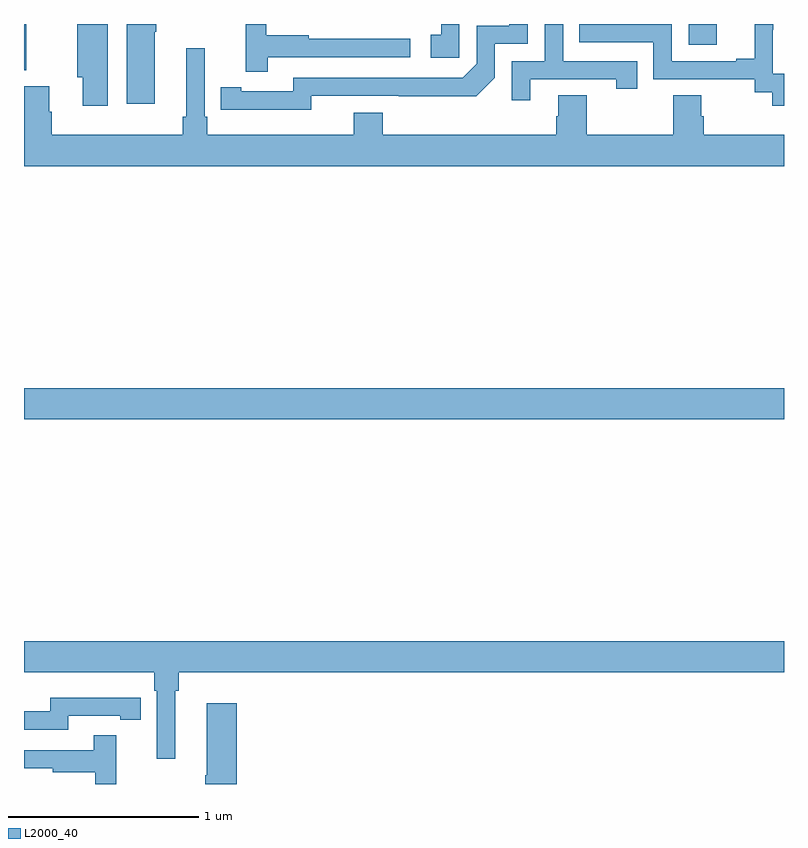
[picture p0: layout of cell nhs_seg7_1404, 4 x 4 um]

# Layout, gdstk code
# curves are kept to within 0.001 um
import gdstk
lib = gdstk.Library(unit=1e-6, precision=1e-09)
def R(c, l, rs):  # rectangles x0, y0, x1, y1
    for r in rs: c.add(gdstk.rectangle(r[:2], r[2:], *l))
def P(c, l, *ps):  # polygons
    for p in ps: c.add(gdstk.Polygon(p, *l))
L2000_40 = (2000, 40)

nhs_seg7_1404 = lib.new_cell('nhs_seg7_1404')
R(nhs_seg7_1404, L2000_40, [(207,1029.92,211,1030.084), (207,1031.757,207.011,1032), (210.498,1031.892,210.646,1032)])
P(nhs_seg7_1404, L2000_40, [(207.688,1031.959),(207.696,1031.959),(207.696,1032),(207.542,1032),(207.542,1031.58),(207.688,1031.58)],
  [(207.442,1032),(207.281,1032),(207.281,1031.721),(207.308,1031.721),(207.308,1031.571),(207.442,1031.571)],
  [(211,1031.739),(210.942,1031.739),(210.942,1031.969),(210.944,1031.969),(210.944,1032),(210.845,1032),(210.845,1031.818),(210.749,1031.818),(210.749,1031.805),(210.408,1031.805),(210.408,1032),(209.923,1032),(209.923,1031.904),(210.312,1031.904),(210.312,1031.709),(210.846,1031.709),(210.846,1031.641),(210.939,1031.641),(210.939,1031.571),(211,1031.571)],
  [(208.512,1031.622),(209.38,1031.621),(209.478,1031.718),(209.478,1031.895),(209.652,1031.895),(209.652,1032),(209.555,1032),(209.555,1031.991),(209.382,1031.991),(209.382,1031.79),(209.31,1031.718),(208.416,1031.718),(208.416,1031.646),(208.144,1031.646),(208.144,1031.666),(208.036,1031.666),(208.036,1031.55),(208.512,1031.549)],
  [(208.283,1031.826),(209.032,1031.826),(209.032,1031.922),(208.499,1031.922),(208.499,1031.942),(208.276,1031.942),(208.276,1032),(208.166,1032),(208.166,1031.748),(208.283,1031.748)],
  [(209.292,1032),(209.195,1032),(209.195,1031.943),(209.142,1031.943),(209.142,1031.823),(209.292,1031.823)],
  [(209.665,1031.709),(210.116,1031.709),(210.116,1031.658),(210.227,1031.658),(210.227,1031.805),(209.838,1031.805),(209.838,1032),(209.742,1032),(209.742,1031.805),(209.568,1031.805),(209.568,1031.598),(209.665,1031.598)],
  [(211,1031.416),(210.578,1031.416),(210.578,1031.514),(210.565,1031.514),(210.565,1031.624),(210.418,1031.624),(210.418,1031.416),(209.961,1031.416),(209.961,1031.624),(209.813,1031.624),(209.813,1031.514),(209.801,1031.514),(209.801,1031.416),(208.889,1031.416),(208.889,1031.533),(208.736,1031.533),(208.736,1031.416),(207.965,1031.416),(207.965,1031.512),(207.951,1031.512),(207.951,1031.872),(207.854,1031.872),(207.854,1031.512),(207.835,1031.512),(207.835,1031.416),(207.146,1031.416),(207.146,1031.538),(207.133,1031.538),(207.133,1031.672),(207,1031.672),(207,1031.252),(211,1031.252)],
  [(207.796,1028.492),(207.815,1028.492),(207.815,1028.588),(211,1028.588),(211,1028.752),(207,1028.752),(207,1028.588),(207.686,1028.588),(207.686,1028.492),(207.699,1028.492),(207.699,1028.132),(207.796,1028.132)],
  [(207.234,1028.358),(207.506,1028.358),(207.506,1028.338),(207.614,1028.338),(207.614,1028.454),(207.506,1028.454),(207.506,1028.455),(207.138,1028.455),(207.138,1028.382),(207,1028.382),(207,1028.286),(207.234,1028.286)],
  [(208.121,1028.425),(207.962,1028.425),(207.962,1028.045),(207.955,1028.045),(207.955,1028),(208.121,1028)],
  [(207.485,1028.257),(207.367,1028.257),(207.367,1028.178),(207,1028.178),(207,1028.082),(207.151,1028.082),(207.151,1028.062),(207.375,1028.062),(207.375,1028),(207.485,1028)])

lib.write_gds('nhs_seg7_1404.gds')
